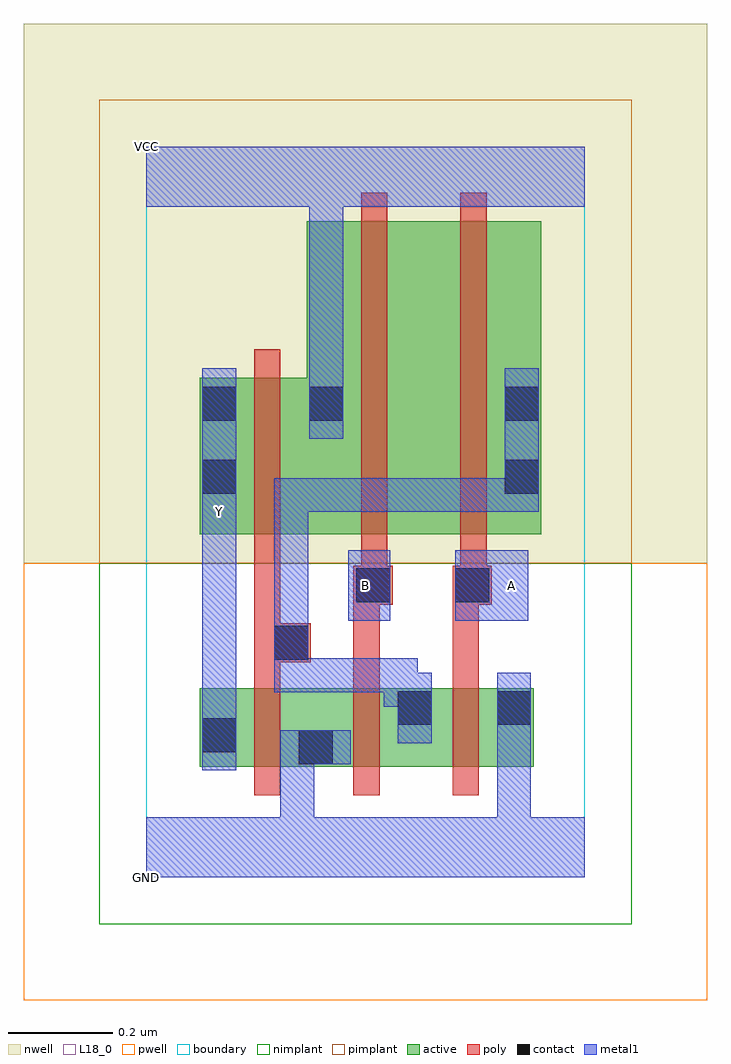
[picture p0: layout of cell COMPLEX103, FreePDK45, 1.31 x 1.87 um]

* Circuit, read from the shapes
.subckt COMPLEX103 A B GND VCC Y
M1 GND n1 Y VSUBS nfet w=0.15u l=0.05u
M2 n1 B GND VSUBS nfet w=0.15u l=0.05u
M3 GND A n1 VSUBS nfet w=0.15u l=0.05u
M4 VCC n1 Y n2 pfet w=0.3u l=0.05u
M5 n3 B VCC n2 pfet w=0.6u l=0.05u
M6 n1 A n3 n2 pfet w=0.6u l=0.05u
.ends

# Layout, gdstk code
import gdstk
lib = gdstk.Library(unit=1e-6, precision=1e-09)
def R(c, l, rs):  # rectangles x0, y0, x1, y1
    for r in rs: c.add(gdstk.rectangle(r[:2], r[2:], *l))
def A(c, l, x, y, w, h, nx, ny, dx, dy):  # array of equal rectangles
    R(c, l, [(x+i*dx, y+j*dy, x+i*dx+w, y+j*dy+h) for i in range(nx) for j in range(ny)])
active = (1, 0)
pwell = (2, 0)
nwell = (3, 0)
nimplant = (4, 0)
pimplant = (5, 0)
poly = (9, 0)
contact = (10, 0)
metal1 = (11, 0)
L18_0 = (18, 0)
boundary = (235, 0)

complex103 = lib.new_cell('COMPLEX103')
A(complex103, active, 0.287, 0.212, 0.075, 0.15, 3, 1, 0.19, 0)
R(complex103, active, [(0.102,0.212,0.177,0.362), (0.102,0.212,0.362,0.362), (0.287,0.212,0.552,0.362), (0.477,0.212,0.742,0.362), (0.102,0.657,0.382,0.957), (0.102,0.657,0.177,0.957), (0.307,0.657,0.532,1.257), (0.532,0.657,0.757,1.257), (0.682,0.657,0.757,1.2), (0.307,0.817,0.382,0.957)])
R(complex103, pwell, [(-0.235,-0.235,1.075,0.602)])
R(complex103, nwell, [(-0.235,0.602,1.075,1.635)])
R(complex103, nimplant, [(-0.09,-0.09,0.93,0.602)])
R(complex103, pimplant, [(-0.09,0.602,0.93,1.49)])
A(complex103, poly, 0.207, 0.157, 0.05, 0.26, 3, 1, 0.19, 0)
R(complex103, poly, [(0.207,0.367,0.257,0.462), (0.397,0.367,0.447,0.572), (0.587,0.367,0.637,0.572), (0.207,0.412,0.315,0.487), (0.207,0.437,0.257,0.652), (0.397,0.522,0.472,0.597), (0.587,0.522,0.662,0.597), (0.412,0.547,0.462,0.652), (0.602,0.547,0.652,0.652), (0.207,0.602,0.257,1.012), (0.412,0.602,0.462,1.312), (0.602,0.602,0.652,1.312)])
R(complex103, contact, [(0.292,0.217,0.357,0.282), (0.107,0.24,0.172,0.305), (0.482,0.292,0.547,0.357), (0.672,0.292,0.737,0.357), (0.245,0.417,0.31,0.482), (0.402,0.527,0.467,0.592), (0.592,0.527,0.657,0.592), (0.107,0.735,0.172,0.8), (0.687,0.735,0.752,0.8), (0.107,0.875,0.172,0.94), (0.312,0.875,0.377,0.94), (0.687,0.875,0.752,0.94)])
R(complex103, metal1, [(0,0,0.84,0.115), (0.257,0.05,0.322,0.282), (0.672,0.05,0.737,0.115), (0.672,0.05,0.737,0.115), (0.672,0.05,0.737,0.115), (0.672,0.05,0.737,0.115), (0.672,0.05,0.737,0.322), (0.107,0.205,0.172,0.34), (0.257,0.217,0.322,0.282), (0.257,0.217,0.322,0.282), (0.257,0.217,0.322,0.282), (0.257,0.217,0.322,0.282), (0.257,0.217,0.392,0.282), (0.482,0.257,0.547,0.392), (0.672,0.257,0.737,0.392), (0.107,0.275,0.172,0.697), (0.455,0.327,0.547,0.392), (0.455,0.327,0.52,0.42), (0.245,0.355,0.31,0.42), (0.245,0.355,0.52,0.42), (0.245,0.355,0.31,0.447), (0.245,0.382,0.31,0.447), (0.245,0.382,0.31,0.447), (0.245,0.382,0.31,0.517), (0.245,0.382,0.31,0.765), (0.387,0.492,0.467,0.627), (0.592,0.492,0.732,0.627), (0.107,0.632,0.172,0.767), (0.107,0.7,0.172,0.975), (0.245,0.7,0.31,0.765), (0.245,0.7,0.52,0.765), (0.455,0.7,0.52,0.765), (0.455,0.7,0.52,0.765), (0.455,0.7,0.52,0.765), (0.455,0.7,0.752,0.765), (0.687,0.7,0.752,0.765), (0.687,0.7,0.752,0.765), (0.687,0.7,0.752,0.975), (0.107,0.702,0.172,0.767), (0.312,0.84,0.377,0.975), (0.312,0.91,0.377,1.35), (0,1.285,0.84,1.4)])
R(complex103, L18_0, [(0,0,0.84,0.115), (0.257,0.05,0.322,0.282), (0.672,0.05,0.737,0.115), (0.672,0.05,0.737,0.115), (0.672,0.05,0.737,0.115), (0.672,0.05,0.737,0.115), (0.672,0.05,0.737,0.322), (0.107,0.205,0.172,0.34), (0.257,0.217,0.322,0.282), (0.257,0.217,0.322,0.282), (0.257,0.217,0.322,0.282), (0.257,0.217,0.322,0.282), (0.257,0.217,0.392,0.282), (0.672,0.257,0.737,0.392), (0.107,0.275,0.172,0.697), (0.387,0.492,0.467,0.627), (0.592,0.492,0.732,0.627), (0.387,0.527,0.452,0.592), (0.667,0.527,0.732,0.592), (0.107,0.632,0.172,0.767), (0.107,0.667,0.172,0.732), (0.107,0.7,0.172,0.975), (0.107,0.702,0.172,0.767), (0.312,0.84,0.377,0.975), (0.312,0.91,0.377,1.35), (0,1.285,0.84,1.4)])
R(complex103, boundary, [(0,0,0.84,1.4)])
complex103.add(gdstk.Label('A', (0.7,0.56), layer=11, texttype=0))
complex103.add(gdstk.Label('B', (0.42,0.56), layer=11, texttype=0))
complex103.add(gdstk.Label('Y', (0.14,0.7), layer=11, texttype=0))
complex103.add(gdstk.Label('VCC', (0,1.4), layer=11, texttype=0))
complex103.add(gdstk.Label('GND', (0,0), layer=11, texttype=0))

lib.write_gds('COMPLEX103.gds')
